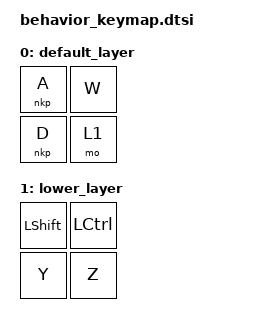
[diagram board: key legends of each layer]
#include <dt-bindings/zmk/keys.h>
#include <behaviors.dtsi>
#include <dt-bindings/zmk/kscan_mock.h>

/ {
    keymap {
        compatible = "zmk,keymap";

        default_layer {
            bindings = <
                &nkp A &kp W
                &nkp D &mo 1>;
        };

        lower_layer {
            bindings = <
                &kp LEFT_SHIFT &kp LEFT_CONTROL
                &kp Y  &kp Z>;
        };
    };
};
